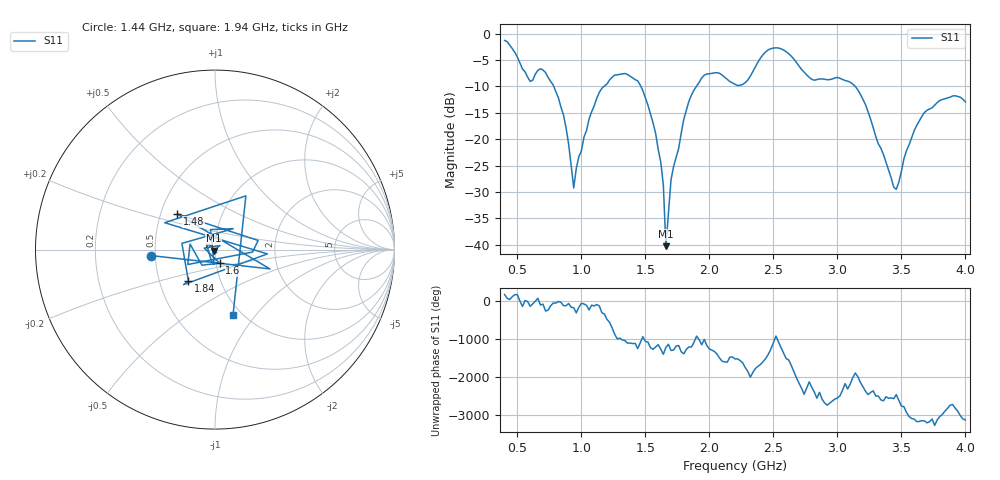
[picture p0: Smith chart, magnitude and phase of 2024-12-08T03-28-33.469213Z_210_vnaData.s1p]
!Created with skrf (http://scikit-rf.org).
# Hz S RI R 50.0
!freq ReS11 ImS11
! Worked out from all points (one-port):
!   181 points, 400 MHz to 4 GHz, reference 50 ohm
!   lowest |S11| = -40.2 dB at 1.66 GHz (marker M1), VSWR 1.02, Z = 49.2 - j0.566 ohm
!   |S11| at or under -10 dB: 784.2 MHz to 1.176 GHz (391.9 MHz wide, 40 % of centre); 1.464 GHz to 1.899 GHz (434.4 MHz wide, 25.8 % of centre); 3.14 GHz to end of sweep
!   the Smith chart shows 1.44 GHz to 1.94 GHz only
!   S11 on the Smith chart (normalised r, x): 1.44 GHz: 0.47, -0.04; 1.48 GHz: 0.61, +0.26; 1.6 GHz: 1.04, -0.16; 1.84 GHz: 0.70, -0.26; 1.94 GHz: 0.91, -0.78
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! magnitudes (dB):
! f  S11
! 400 MHz  -1.3
! 600 MHz  -9.1
! 720 MHz  -7.4
! 860 MHz  -15.4
! 940 MHz  -29.2
! 980 MHz  -23.3
! 1.12 GHz  -12.2
! 1.3 GHz  -7.7
! 1.44 GHz  -9.0
! 1.48 GHz  -10.8
! 1.6 GHz  -21.9
! 1.64 GHz  -28.6
! 1.66 GHz  -40.2
! 1.7 GHz  -27.7
! 1.76 GHz  -21.7
! 1.84 GHz  -12.8
! 1.94 GHz  -8.4
! 2.2 GHz  -9.6
! 2.48 GHz  -2.9
! 2.66 GHz  -4.8
! 2.8 GHz  -8.7
! 3.1 GHz  -9.2
! 3.22 GHz  -13.5
! 3.44 GHz  -29.1
! 3.56 GHz  -21.1
! 3.68 GHz  -14.9
! 3.8 GHz  -12.7
! 4 GHz  -12.9
